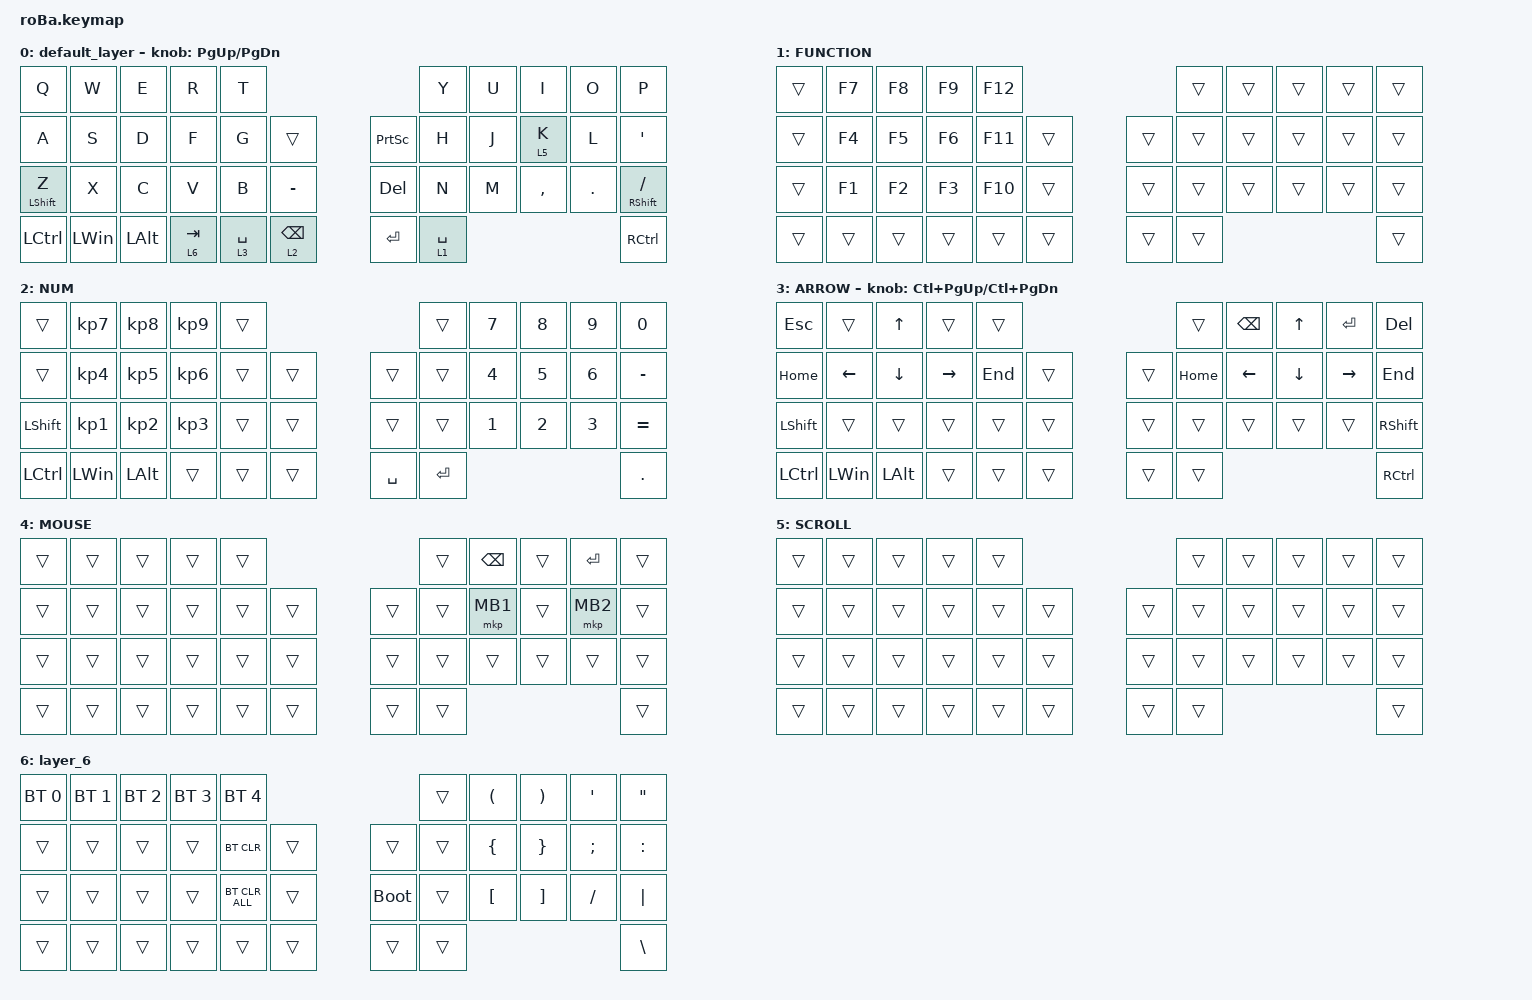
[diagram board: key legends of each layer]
#include <behaviors.dtsi>
#include <dt-bindings/zmk/bt.h>
#include <dt-bindings/zmk/keys.h>
#include <dt-bindings/zmk/pointing.h>

&mt {
    flavor = "balanced";
    quick-tap-ms = <0>;
};

&trackball {
    automouse-layer = <4>;
    scroll-layers = <5>;

    // arrows {
    //     layers = <3>;
    //     bindings =
    //         <&kp RIGHT_ARROW>,
    //         <&kp LEFT_ARROW>,
    //         <&kp UP_ARROW>,
    //         <&kp DOWN_ARROW>;
    //     tick = <10>;
    //     wait-ms = <5>;
    //     tap-ms = <5>;
    // };
};

/ {
    combos {
        compatible = "zmk,combos";

        tab {
            bindings = <&kp TAB>;
            key-positions = <11 12>;
        };

        shift_tab {
            bindings = <&kp LS(TAB)>;
            key-positions = <12 13>;
        };

        muhennkann {
            bindings = <&to_layer_0 INT_MUHENKAN>;
            key-positions = <11 10>;
        };

        double_quotation {
            bindings = <&kp DOUBLE_QUOTES>;
            key-positions = <20 21>;
        };

        eq {
            bindings = <&kp EQUAL>;
            key-positions = <24 25>;
        };
    };

    macros {
        to_layer_0: to_layer_0 {
            compatible = "zmk,behavior-macro-one-param";
            #binding-cells = <1>;
            bindings = <&to 0 &macro_param_1to1 &kp MACRO_PLACEHOLDER>;
            label = "TO_LAYER_0";
        };
    };

    behaviors {
        lt_to_layer_0: lt_to_layer_0 {
            compatible = "zmk,behavior-hold-tap";
            label = "LAYER_TAP_TO_0";
            bindings = <&mo>, <&to_layer_0>;

            #binding-cells = <2>;
            tapping-term-ms = <200>;
        };
    };

    keymap {
        compatible = "zmk,keymap";

        default_layer {
            bindings = <
&kp Q             &kp W         &kp E         &kp R                 &kp T                                                         &kp Y        &kp U  &kp I      &kp O    &kp P
&kp A             &kp S         &kp D         &kp F                 &kp G        &trans                          &kp PRINTSCREEN  &kp H        &kp J  &lt 5 K    &kp L    &kp SQT
&mt LEFT_SHIFT Z  &kp X         &kp C         &kp V                 &kp B        &kp MINUS                       &kp DELETE       &kp N        &kp M  &kp COMMA  &kp DOT  &mt RIGHT_SHIFT SLASH
&kp LCTRL         &kp LEFT_WIN  &kp LEFT_ALT  &lt_to_layer_0 6 TAB  &lt 3 SPACE  &lt_to_layer_0 2 BACKSPACE      &kp ENTER        &lt 1 SPACE                             &kp RIGHT_CONTROL
            >;

            sensor-bindings = <&inc_dec_kp PG_UP PAGE_DOWN>;
        };

        FUNCTION {
            bindings = <
&trans  &kp F7  &kp F8  &kp F9  &kp F12                      &trans  &trans  &trans  &trans  &trans
&trans  &kp F4  &kp F5  &kp F6  &kp F11  &trans      &trans  &trans  &trans  &trans  &trans  &trans
&trans  &kp F1  &kp F2  &kp F3  &kp F10  &trans      &trans  &trans  &trans  &trans  &trans  &trans
&trans  &trans  &trans  &trans  &trans   &trans      &trans  &trans                          &trans
            >;
        };

        NUM {
            bindings = <
&trans            &kp KP_NUMBER_7  &kp KP_NUMBER_8  &kp KP_NUMBER_9  &trans                         &trans     &kp NUMBER_7  &kp NUMBER_8  &kp NUMBER_9  &kp NUMBER_0
&trans            &kp KP_NUMBER_4  &kp KP_NUMBER_5  &kp KP_NUMBER_6  &trans  &trans      &trans     &trans     &kp NUMBER_4  &kp N5        &kp NUMBER_6  &kp MINUS
&kp LEFT_SHIFT    &kp KP_NUMBER_1  &kp KP_NUMBER_2  &kp KP_NUMBER_3  &trans  &trans      &trans     &trans     &kp NUMBER_1  &kp NUMBER_2  &kp NUMBER_3  &kp EQUAL
&kp LEFT_CONTROL  &kp LEFT_WIN     &kp LEFT_ALT     &trans           &trans  &trans      &kp SPACE  &kp ENTER                                            &kp PERIOD
            >;
        };

        ARROW {
            bindings = <
&kp ESCAPE        &trans          &kp UP_ARROW    &trans           &trans                       &trans    &kp BACKSPACE   &kp UP_ARROW    &kp ENTER        &kp DELETE
&kp HOME          &kp LEFT_ARROW  &kp DOWN_ARROW  &kp RIGHT_ARROW  &kp END  &trans      &trans  &kp HOME  &kp LEFT_ARROW  &kp DOWN_ARROW  &kp RIGHT_ARROW  &kp END
&kp LEFT_SHIFT    &trans          &trans          &trans           &trans   &trans      &trans  &trans    &trans          &trans          &trans           &kp RIGHT_SHIFT
&kp LEFT_CONTROL  &kp LEFT_WIN    &kp LEFT_ALT    &trans           &trans   &trans      &trans  &trans                                                     &kp RIGHT_CONTROL
            >;

            sensor-bindings = <&inc_dec_kp LC(PAGE_UP) LC(PAGE_DOWN)>;
        };

        MOUSE {
            bindings = <
&trans  &trans  &trans  &trans  &trans                      &trans  &kp BACKSPACE  &trans  &kp ENTER  &trans
&trans  &trans  &trans  &trans  &trans  &trans      &trans  &trans  &mkp MB1       &trans  &mkp MB2   &trans
&trans  &trans  &trans  &trans  &trans  &trans      &trans  &trans  &trans         &trans  &trans     &trans
&trans  &trans  &trans  &trans  &trans  &trans      &trans  &trans                                    &trans
            >;
        };

        SCROLL {
            bindings = <
&trans  &trans  &trans  &trans  &trans                      &trans  &trans  &trans  &trans  &trans
&trans  &trans  &trans  &trans  &trans  &trans      &trans  &trans  &trans  &trans  &trans  &trans
&trans  &trans  &trans  &trans  &trans  &trans      &trans  &trans  &trans  &trans  &trans  &trans
&trans  &trans  &trans  &trans  &trans  &trans      &trans  &trans                          &trans
            >;
        };

        layer_6 {
            bindings = <
&bt BT_SEL 0  &bt BT_SEL 1  &bt BT_SEL 2  &bt BT_SEL 3  &bt BT_SEL 4                             &trans  &kp LEFT_PARENTHESIS  &kp RIGHT_PARENTHESIS  &kp SQT        &kp DOUBLE_QUOTES
&trans        &trans        &trans        &trans        &bt BT_CLR      &trans      &trans       &trans  &kp LEFT_BRACE        &kp RIGHT_BRACE        &kp SEMICOLON  &kp COLON
&trans        &trans        &trans        &trans        &bt BT_CLR_ALL  &trans      &bootloader  &trans  &kp LEFT_BRACKET      &kp RIGHT_BRACKET      &kp SLASH      &kp PIPE
&trans        &trans        &trans        &trans        &trans          &trans      &trans       &trans                                                              &kp BACKSLASH
            >;
        };
    };
};
